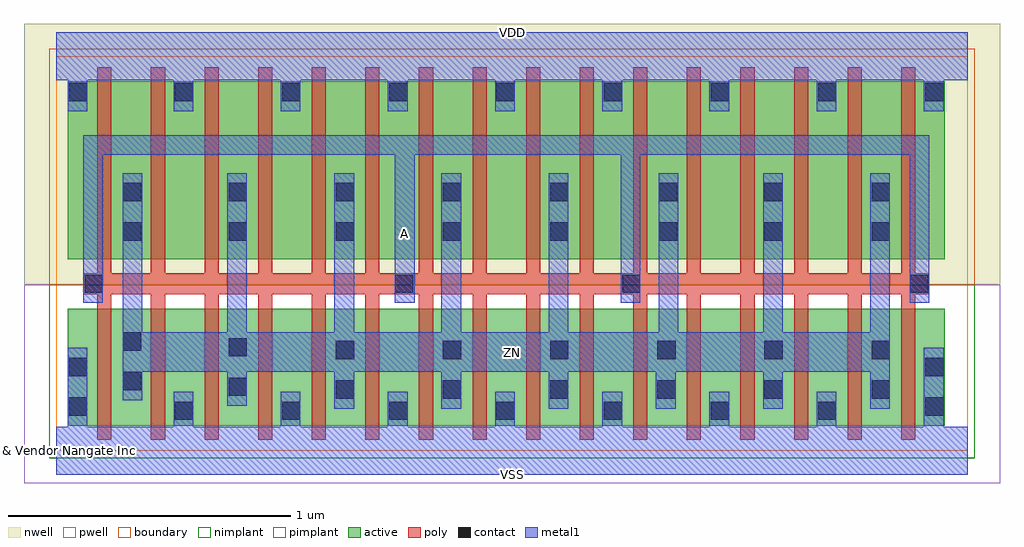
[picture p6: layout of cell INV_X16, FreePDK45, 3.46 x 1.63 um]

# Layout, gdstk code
import gdstk
lib = gdstk.Library(unit=1e-6, precision=1e-10)
def R(c, l, rs):  # rectangles x0, y0, x1, y1
    for r in rs: c.add(gdstk.rectangle(r[:2], r[2:], *l))
def A(c, l, x, y, w, h, nx, ny, dx, dy):  # array of equal rectangles
    R(c, l, [(x+i*dx, y+j*dy, x+i*dx+w, y+j*dy+h) for i in range(nx) for j in range(ny)])
def P(c, l, *ps):  # polygons
    for p in ps: c.add(gdstk.Polygon(p, *l))
active = (1, 0)
pwell = (2, 0)
nwell = (3, 0)
nimplant = (4, 0)
pimplant = (5, 0)
poly = (9, 0)
contact = (10, 0)
metal1 = (11, 0)
boundary = (235, 0)

inv_x16 = lib.new_cell('INV_X16')
R(inv_x16, active, [(0.04,0.09,3.15,0.505), (0.04,0.68,3.15,1.31)])
R(inv_x16, pwell, [(-0.115,-0.115,3.345,0.59)])
R(inv_x16, nwell, [(-0.115,0.59,3.345,1.515)])
R(inv_x16, nimplant, [(-0.025,-0.025,3.255,0.59)])
R(inv_x16, pimplant, [(-0.025,0.59,3.255,1.425)])
P(inv_x16, poly, [(0.145,0.04),(0.145,0.555),(0.095,0.555),(0.095,0.63),(0.145,0.63),(0.145,1.36),(0.195,1.36),(0.195,0.63),(0.335,0.63),(0.335,1.36),(0.385,1.36),(0.385,0.63),(0.525,0.63),(0.525,1.36),(0.575,1.36),(0.575,0.63),(0.715,0.63),(0.715,1.36),(0.765,1.36),(0.765,0.63),(0.905,0.63),(0.905,1.36),(0.955,1.36),(0.955,0.63),(1.095,0.63),(1.095,1.36),(1.145,1.36),(1.145,0.63),(1.285,0.63),(1.285,1.36),(1.335,1.36),(1.335,0.63),(1.475,0.63),(1.475,1.36),(1.525,1.36),(1.525,0.63),(1.665,0.63),(1.665,1.36),(1.715,1.36),(1.715,0.63),(1.855,0.63),(1.855,1.36),(1.905,1.36),(1.905,0.63),(2.045,0.63),(2.045,1.36),(2.095,1.36),(2.095,0.63),(2.235,0.63),(2.235,1.36),(2.285,1.36),(2.285,0.63),(2.425,0.63),(2.425,1.36),(2.475,1.36),(2.475,0.63),(2.615,0.63),(2.615,1.36),(2.665,1.36),(2.665,0.63),(2.805,0.63),(2.805,1.36),(2.855,1.36),(2.855,0.63),(2.995,0.63),(2.995,1.36),(3.045,1.36),(3.045,0.63),(3.095,0.63),(3.095,0.555),(3.045,0.555),(3.045,0.04),(2.995,0.04),(2.995,0.555),(2.855,0.555),(2.855,0.04),(2.805,0.04),(2.805,0.555),(2.665,0.555),(2.665,0.04),(2.615,0.04),(2.615,0.555),(2.475,0.555),(2.475,0.04),(2.425,0.04),(2.425,0.555),(2.285,0.555),(2.285,0.04),(2.235,0.04),(2.235,0.555),(2.095,0.555),(2.095,0.04),(2.045,0.04),(2.045,0.555),(1.905,0.555),(1.905,0.04),(1.855,0.04),(1.855,0.555),(1.715,0.555),(1.715,0.04),(1.665,0.04),(1.665,0.555),(1.525,0.555),(1.525,0.04),(1.475,0.04),(1.475,0.555),(1.335,0.555),(1.335,0.04),(1.285,0.04),(1.285,0.555),(1.145,0.555),(1.145,0.04),(1.095,0.04),(1.095,0.555),(0.955,0.555),(0.955,0.04),(0.905,0.04),(0.905,0.555),(0.765,0.555),(0.765,0.04),(0.715,0.04),(0.715,0.555),(0.575,0.555),(0.575,0.04),(0.525,0.04),(0.525,0.555),(0.385,0.555),(0.385,0.04),(0.335,0.04),(0.335,0.555),(0.195,0.555),(0.195,0.04)])
A(inv_x16, contact, 0.42, 0.11, 0.065, 0.065, 7, 1, 0.38, 0)
A(inv_x16, contact, 0.99, 0.185, 0.065, 0.065, 6, 2, 0.38, 0.14)
A(inv_x16, contact, 0.61, 0.745, 0.065, 0.065, 4, 2, 0.38, 0.14)
A(inv_x16, contact, 0.42, 1.24, 0.065, 0.065, 8, 1, 0.38, 0)
R(inv_x16, contact, [(0.045,0.125,0.11,0.19), (3.08,0.125,3.145,0.19), (0.61,0.195,0.675,0.26), (0.235,0.215,0.3,0.28), (0.045,0.265,0.11,0.33), (3.08,0.265,3.145,0.33), (0.61,0.335,0.675,0.4), (0.235,0.355,0.3,0.42), (0.1,0.56,0.165,0.625), (1.2,0.56,1.265,0.625), (2.005,0.56,2.07,0.625), (3.025,0.56,3.09,0.625), (0.235,0.745,0.3,0.81), (2.135,0.745,2.2,0.81), (2.51,0.745,2.575,0.81), (2.89,0.745,2.955,0.81), (0.235,0.885,0.3,0.95), (2.135,0.885,2.2,0.95), (2.51,0.885,2.575,0.95), (2.89,0.885,2.955,0.95), (0.045,1.24,0.11,1.305)])
P(inv_x16, metal1, [(0.985,0.15),(0.985,0.28),(0.675,0.28),(0.675,0.16),(0.605,0.16),(0.605,0.28),(0.305,0.28),(0.305,0.18),(0.235,0.18),(0.235,0.985),(0.305,0.985),(0.305,0.42),(0.605,0.42),(0.605,0.985),(0.675,0.985),(0.675,0.42),(0.985,0.42),(0.985,0.985),(1.055,0.985),(1.055,0.42),(1.365,0.42),(1.365,0.985),(1.435,0.985),(1.435,0.42),(1.745,0.42),(1.745,0.985),(1.815,0.985),(1.815,0.42),(2.135,0.42),(2.135,0.985),(2.205,0.985),(2.205,0.42),(2.505,0.42),(2.505,0.985),(2.575,0.985),(2.575,0.42),(2.885,0.42),(2.885,0.985),(2.955,0.985),(2.955,0.15),(2.885,0.15),(2.885,0.28),(2.575,0.28),(2.575,0.15),(2.505,0.15),(2.505,0.28),(2.195,0.28),(2.195,0.15),(2.125,0.15),(2.125,0.28),(1.815,0.28),(1.815,0.15),(1.745,0.15),(1.745,0.28),(1.435,0.28),(1.435,0.15),(1.365,0.15),(1.365,0.28),(1.055,0.28),(1.055,0.15)],
  [(0.095,0.525),(0.095,1.12),(3.095,1.12),(3.095,0.525),(3.025,0.525),(3.025,1.05),(2.07,1.05),(2.07,0.525),(2,0.525),(2,1.05),(1.27,1.05),(1.27,0.525),(1.2,0.525),(1.2,1.05),(0.165,1.05),(0.165,0.525)],
  [(0,-0.085),(0,0.085),(0.04,0.085),(0.04,0.365),(0.11,0.365),(0.11,0.085),(0.415,0.085),(0.415,0.21),(0.485,0.21),(0.485,0.085),(0.795,0.085),(0.795,0.21),(0.865,0.21),(0.865,0.085),(1.175,0.085),(1.175,0.21),(1.245,0.21),(1.245,0.085),(1.555,0.085),(1.555,0.21),(1.625,0.21),(1.625,0.085),(1.935,0.085),(1.935,0.21),(2.005,0.21),(2.005,0.085),(2.315,0.085),(2.315,0.21),(2.385,0.21),(2.385,0.085),(2.695,0.085),(2.695,0.21),(2.765,0.21),(2.765,0.085),(3.075,0.085),(3.075,0.365),(3.145,0.365),(3.145,0.085),(3.23,0.085),(3.23,-0.085)],
  [(0.04,1.205),(0.04,1.315),(0,1.315),(0,1.485),(3.23,1.485),(3.23,1.315),(3.145,1.315),(3.145,1.205),(3.075,1.205),(3.075,1.315),(2.765,1.315),(2.765,1.205),(2.695,1.205),(2.695,1.315),(2.385,1.315),(2.385,1.205),(2.315,1.205),(2.315,1.315),(2.005,1.315),(2.005,1.205),(1.935,1.205),(1.935,1.315),(1.625,1.315),(1.625,1.205),(1.555,1.205),(1.555,1.315),(1.245,1.315),(1.245,1.205),(1.175,1.205),(1.175,1.315),(0.865,1.315),(0.865,1.205),(0.795,1.205),(0.795,1.315),(0.485,1.315),(0.485,1.205),(0.415,1.205),(0.415,1.315),(0.11,1.315),(0.11,1.205)])
R(inv_x16, boundary, [(0,0,3.23,1.4)])
inv_x16.add(gdstk.Label('A', (1.235,0.77), layer=11, texttype=0))
inv_x16.add(gdstk.Label('VDD', (1.615,1.485), layer=11, texttype=0))
inv_x16.add(gdstk.Label('VSS', (1.615,-0.085), layer=11, texttype=0))
inv_x16.add(gdstk.Label('ZN', (1.615,0.35), layer=11, texttype=0))
inv_x16.add(gdstk.Label('& Vendor Nangate Inc', (0,0), layer=63, texttype=63))
inv_x16.add(gdstk.Label('& Product Open Cell Library', (0,0), layer=63, texttype=63))
inv_x16.add(gdstk.Label('& Version 2010_12', (0,0), layer=63, texttype=63))
inv_x16.add(gdstk.Label('& Instance INV_X16', (0,0), layer=63, texttype=63))

lib.write_gds('INV_X16.gds')
